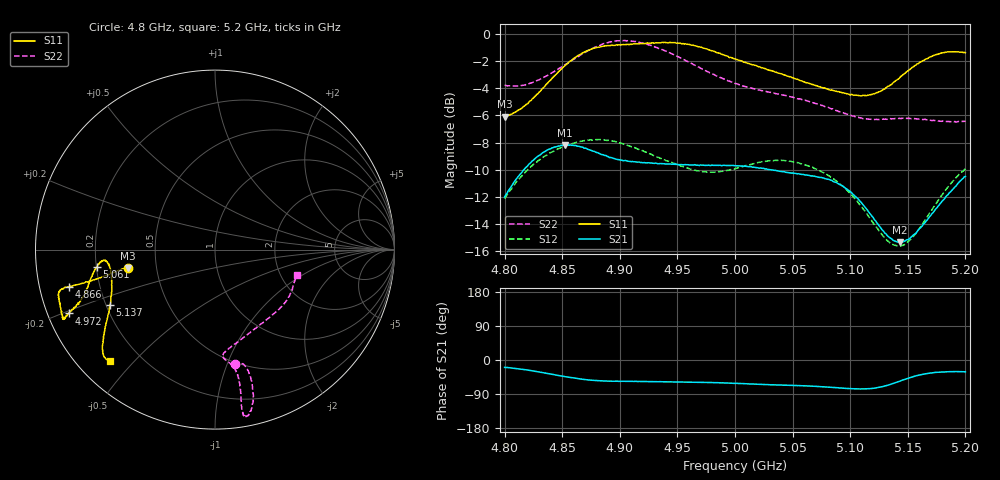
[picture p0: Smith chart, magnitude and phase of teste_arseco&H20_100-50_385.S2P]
! Network Analyzer HP8722D
! Hewlett-Packard
! Data name: Linha & Wilkinson
! Saver's name: Rodrigo Anjos
! Comments: Teste da utilização de aquisição
! continua pelo VNA HP8722D
! Time and date: 6/5/2025 15:46
!  Frequency  S11  S21  S12  S22
# HZ  S  MA R 50
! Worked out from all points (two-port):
!   401 points, 4.8 GHz to 5.2 GHz, reference 50 ohm
!   highest |S21| = -8.17 dB at 4.852 GHz (marker M1); lowest = -15.3 dB at 5.143 GHz (marker M2)
!   |S21| within 3 dB of the highest: 4.806 GHz to 5.093 GHz (286.8 MHz wide, 5.8 % of centre); 5.192062 GHz to end of sweep
!   lowest |S11| = -6.1 dB at 4.8 GHz (marker M3), VSWR 2.97, Z = 17 - j4.6 ohm
!   |S11| at or under -10 dB: nowhere
!   |S22| runs from -6.5 to -0.5 dB; largest |S21 - S12| = 0.62
!   S11 on the Smith chart (normalised r, x): 4.8 GHz: 0.34, -0.09; 4.866 GHz: 0.09, -0.12; 4.972 GHz: 0.06, -0.21; 5.061 GHz: 0.20, -0.07; 5.137 GHz: 0.22, -0.24; 5.2 GHz: 0.09, -0.43
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4.8e9  0.4962 -168.1  0.2512 -19.5  0.2478 -140.7  0.6474 -80.3
4.824e9  0.5771 -167.4  0.3412 -28.6  0.3278 -143.8  0.6626 -75.9
4.852e9  0.7622 -165.8  0.3904 -43.6  0.3865 -149.3  0.7687 -74.5
4.866e9  0.8419 -165.7  0.3841 -50.2  0.4027 -151.6  0.8362 -75.2
4.867e9  0.8489 -165.7  0.3833 -50.6  0.4032 -151.8  0.8428 -75.3
4.883e9  0.8955 -164.9  0.362 -54.9  0.4085 -154.6  0.9079 -77.1
4.899e9  0.9116 -162.8  0.3445 -56.4  0.3985 -156.5  0.9431 -78.9
4.934e9  0.9283 -156.2  0.3331 -57.4  0.3511 -155.5  0.8834 -80.4
4.972e9  0.8883 -156.4  0.3293 -58.9  0.3114 -146.1  0.7408 -79.7
5e9  0.8093 -158.9  0.3274 -61.7  0.3197 -137.1  0.6575 -81.3
5.036e9  0.7226 -165.5  0.3142 -65.7  0.3424 -134.2  0.6025 -85.6
5.061e9  0.6637 -171.8  0.3028 -68.2  0.3298 -136.1  0.5702 -83.9
5.067e9  0.6516 -172.8  0.3006 -69.0  0.3243 -136.5  0.56 -82.7
5.087e9  0.6167 -174.5  0.285 -72.9  0.2895 -138.4  0.5244 -74.9
5.103e9  0.5946 -171.3  0.2559 -75.9  0.251 -138.6  0.4989 -65.3
5.117e9  0.5966 -164.9  0.2186 -75.6  0.2101 -135.0  0.4855 -55.3
5.134e9  0.6444 -154.3  0.1785 -65.3  0.1711 -120.9  0.487 -43.3
5.137e9  0.6602 -152.3  0.1744 -62.4  0.168 -117.0  0.4876 -41.4
5.143e9  0.6895 -149.1  0.1714 -56.1  0.1656 -109.0  0.4892 -38.1
5.155e9  0.7574 -144.0  0.1824 -43.6  0.1802 -94.1  0.4886 -31.9
5.174e9  0.8383 -138.3  0.2264 -32.7  0.2359 -80.2  0.4797 -23.9
5.2e9  0.8532 -133.4  0.2992 -31.2  0.319 -76.7  0.4776 -17.5
